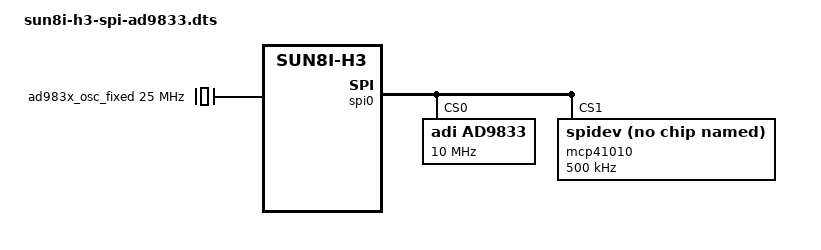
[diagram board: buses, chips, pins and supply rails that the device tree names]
/dts-v1/;
/plugin/;

/ {
	compatible = "allwinner,sun8i-h3";

	fragment@0 {
		target-path = "/aliases";
		__overlay__ {
			spi0 = "/soc/spi@01c68000";
		};
	};

	fragment@1 {
		target-path = "/clocks";
		__overlay__ {
			#address-cells = <1>;
			#size-cells = <1>;
			ad983x_osc_fixed: ad983x_osc_fixed {
				compatible = "fixed-clock";
				#clock-cells = <0>;
				clock-frequency  = <25000000>;
			};
		};
	};

	fragment@2 {
		target = <&spi0>;
		__overlay__ {
			#address-cells = <1>;
			#size-cells = <0>;
			status = "okay";
			ad9833@0 {
				reg = <0>; /* Chip Select 0 */
				compatible = "adi,ad9833";
				spi-max-frequency = <10000000>;
				clocks = <&ad983x_osc_fixed>;
				status = "okay";
			};

			mcp41010@1 {
				reg = <1>; /* Chip Select 1 */
				compatible = "spidev";
				spi-max-frequency = <500000>;
				status = "okay";
			};
		};
	};
};
